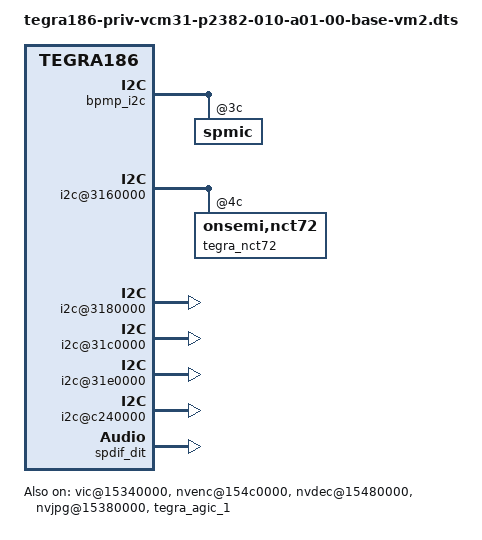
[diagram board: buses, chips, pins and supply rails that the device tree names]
/*
 * tegra186-priv-vcm31-p2382-010-a01-00-base-vm2.dts: P2382(sunstreaker) base vm2 dts
 * file
 *
 * Copyright (c) 2015 - 2016, NVIDIA CORPORATION.  All rights reserved.
 *
 * This program is free software; you can redistribute it and/or modify
 * it under the terms of the GNU General Public License as published by
 * the Free Software Foundation; version 2 of the License.
 *
 * This program is distributed in the hope that it will be useful, but WITHOUT
 * ANY WARRANTY; without even the implied warranty of MERCHANTABILITY or
 * FITNESS FOR A PARTICULAR PURPOSE.  See the GNU General Public License for
 * more details.
 */

#include "tegra186-platforms/tegra186-vcm31-p2382-common.dtsi"
#include "tegra186-platforms/tegra186-vcm31-camera-ccplex.dtsi"

/ {
	nvidia,dtsfilename = __FILE__;
	nvidia,boardids = "p2382:0010:A01";
	nvidia,proc-boardid = "p2382:0010:A01";

	tegra_hv: hyp {
		compatible = "nvidia,tegra-hv";
		status = "okay";
	};

	chosen {
		nvidia,tegra-hypervisor-mode;
	};

	reserved-memory {
		ivm0: carveout0 {
			status = "okay";
			compatible = "nvidia,ivm_carveout";
			reg = <0x0 0x70c00000 0x0 0x04c00000>;
			ivm = <&tegra_hv 0>;
			alloc = <1>;
			no-map;
		};
	};

	tegra-carveouts {
		status = "okay";
		memory-region = <&ivm0>;
	};

	mc_sid@2c00000 {
		nvidia,by-pass-smmu-streamid = <0x7d>;
		status = "okay";
	};

	mailbox@3538000 {
		status = "disabled";
	};

	xhci@3530000 {
		status = "disabled";
	};

	sdhci@3420000 { /* Should be used for eMMC. HS400 mode is not supported */
		status = "disabled";
	};

	sdhci@3400000 {
		/delete-property/ vddio_sdmmc-supply;
		/delete-property/ vddio_sd_slot-supply;
		status = "disabled";
	};

	/delete-node/ pmc-iopower;

	fixed-regulators {
		regulator@4 {
			status = "disabled";
		};
	};

	xudc@3550000 {
		status = "disabled";
	};

	pinctrl@3520000 {
		status = "disabled";
	};

	power-domain {
		host-pd {
			compatible = "nvidia,tegra186-host1x-pd-hv";
		};
	};

	host1x {
		compatible = "nvidia,tegra186-host1x-hv", "simple-bus";
		reg = <0x0 0x13e20000 0x0 0x00010000>;
		interrupts = <0 266 0x04
					0 263 0x04>;
		nvidia,vmid = <2>;

		nvidia,ch-base = <28>;
		nvidia,nb-channels = <26>;

		nvidia,nb-hw-pts = <576>;
		nvidia,pts-base = <284>;
		nvidia,nb-pts = <284>;

		vmserver-owns-engines = <1>;

		ivc-queue0 = <&tegra_hv 47>;

		ctx0 {
			status = "disabled";
		};

		ctx1 {
			status = "disabled";
		};

		ctx2 {
			status = "disabled";
		};

		ctx3 {
			status = "disabled";
		};

		ctx4 {
			status = "okay";
		};

		ctx5 {
			status = "okay";
		};

		ctx6 {
			status = "okay";
		};

		ctx7 {
			status = "okay";
		};

		nvcsi@150c0000 {
			status = "disabled";
		};

		vi@15700000 {
			status = "disabled";
		};

		isp@15600000 {
			status = "disabled";
		};

		nvdisplay@15200000 {
			status = "disabled";
		};

		nvdisplay@15210000 {
			status = "disabled";
		};

		nvdisplay@15220000 {
			status = "disabled";
		};

		dsi {
			status = "disabled";
		};

		vic@15340000 {
			compatible = "nvidia,tegra186-vhost-vic";
			status = "okay";
		};

		nvenc@154c0000 {
			compatible = "nvidia,tegra186-vhost-nvenc";
			status = "okay";
		};

		nvdec@15480000 {
			compatible = "nvidia,tegra186-vhost-nvdec";
			status = "okay";
		};

		nvjpg@15380000 {
			compatible = "nvidia,tegra186-vhost-nvjpg";
			status = "okay";
		};

		tsec@15500000 {
			status = "disabled";
		};

		tsecb@15100000 {
			status = "disabled";
		};

		sor {
			status = "disabled";
		};

		sor1 {
			status = "disabled";
		};

		dpaux@155c0000 {
			status = "disabled";
		};

		dpaux@15040000 {
			status = "disabled";
		};

		se@15810000 {
			status = "disabled";
		};

		se@15820000 {
			status = "disabled";
		};

		se@15830000 {
			status = "disabled";
		};

		se@15840000 {
			status = "disabled";
		};
	};

	gp10b {
		status = "disabled";
	};

	interrupt-controller@3000000 {
		compatible = "arm,cortex-a15-gic-none";
		status = "disabled";
	};

	se_elp@3ad0000 {
		status = "disabled";
	};

	spi@3270000 {
		status = "disabled";
	};

	spi@3210000 {
		status = "disabled";
	};

	spi@c260000 {
		status = "disabled";
	};

	spi@3230000 {
		status = "disabled";
	};

	spi@3240000 {
		status = "disabled";
	};

        ether_qos@2490000 {
		status = "disabled";
        };

        ether_qos_virt_test@2490000 {
		status = "disabled";
        };

	tegra-hsp@3c00000 {
		compatible = "nvidia,tegra186-hsp-none";
		status = "disabled";
	};

	chipid@100000 {
		status = "disabled";
	};

	bpmp {
		compatible = "nvidia,tegra186-bpmp-hv";
		ivc_queue = <&tegra_hv 14 14>;
		mempool = <5>;
		status = "okay";

		bpmpthermal {
			status = "disabled";
		};
	};

	bpmp_i2c {
                spmic: spmic@3c {
			/delete-property/ maxim,device-state-on-disabled-event;
			/delete-node/ backup-battery;
			/delete-node/ fps;
			pinmux@0 {
				/delete-node/ pin_gpio2;
				/delete-node/ pin_gpio3;
			};
			regulators {
				/delete-node/ sd0;
				/delete-node/ sd1;
				/delete-node/ sd2;
				/delete-node/ sd3;
				/delete-node/ sd4;
				/delete-node/ ldo0;
				/delete-node/ ldo1;
				/delete-node/ ldo2;
				/delete-node/ ldo3;
				/delete-node/ ldo4;
				/delete-node/ ldo6;
				/delete-node/ ldo7;
				/delete-node/ ldo8;
			};
		};
	};

	serial@3100000 {
		status = "disabled";
	};

	serial@c280000 {
		status = "disabled";
	};

	serial@3130000 {
		status = "disabled";
	};

	serial@3140000 {
		status = "disabled";
	};

	serial@3150000 {
		status = "disabled";
	};

	serial@c290000 {
		status = "disabled";
	};

	isc-mgr.0 {
		status = "disabled";
	};

	isc-mgr.1 {
		status = "disabled";
	};

	isc-mgr.1 {
		status = "disabled";
	};

	i2c@3160000 {
		compatible = "nvidia,tegra186-i2c-hv";
		ivc_queue = <&tegra_hv 54>;
		status = "okay";
		tegra_nct72: onsemi,nct72@4c {
			/delete-property/ interrupt-parent;
			/delete-property/ interrupts;
			/delete-property/ temp-alert-gpio;
		};
		tmpm32xi2c@61 {
			status = "disabled";
		};
	};

	i2c@3180000 {
		compatible = "nvidia,tegra186-i2c-hv";
		ivc_queue = <&tegra_hv 54>;
		status = "okay";
	};

	i2c@3190000 {
		status = "disabled";
	};

	i2c@31b0000 {
		status = "disabled";
	};

	i2c@31c0000 {
		compatible = "nvidia,tegra186-i2c-hv";
		ivc_queue = <&tegra_hv 54>;
		status = "okay";
	};

	i2c@31e0000 {
		compatible = "nvidia,tegra186-i2c-hv";
		ivc_queue = <&tegra_hv 54>;
		status = "okay";
	};

	i2c@c240000 {
		compatible = "nvidia,tegra186-i2c-hv";
		ivc_queue = <&tegra_hv 54>;
		status = "okay";
	};

	i2c@c250000 {
		compatible = "nvidia,tegra186-i2c-hv";
		ivc_queue = <&tegra_hv 54>;
		status = "disabled";
	};

	ahci-sata@3507000 {
		status = "disabled";
	};

	pcie-controller@10003000 {
		status = "disabled";

		pci@1,0 {
			status = "disabled";
		};

		pci@2,0 {
			status = "disabled";
		};

		pci@3,0 {
			status = "disabled";
		};

	};

	agic-controller@2a41000 {
		status = "disabled";
	};

	adsp@2993000 {
		status = "disabled";
	};

	clocks {
	     clk32k_in@0 {
		status = "disabled";
	     };
	};

	mttcan@c310000 {
		status = "disabled";
	};

	mttcan@c320000 {
		status = "disabled";
	};

	cpuidle {
		compatible = "nvidia,tegra18x-cpuidle";
		status = "disabled";
	};

	tegra_edvd@e070000 {
		status = "disabled";
	};

	aon@c160000 {
		status = "disabled";
	};

	tachometer@39c0000 {
		status = "disabled";
	};

	tegra_hv_net {
		compatible = "nvidia,tegra-hv-net";
		status = "okay";
		ivc = <&tegra_hv 28>;
	};

	tegra_hv_wdt {
		compatible = "nvidia,tegra-hv-wdt";
		status = "okay";
		ivc = <&tegra_hv 52>;
	};

	tegra_wdt:watchdog@30c0000 {
		status = "disabled";
	};

	pmc@c370000 {
		status = "disabled";
	};

	generic-system-config {
		status = "dislabled";
	};

	dma@2600000 {
		dma-channels = <16>;
		nvidia,start-dma-channel-index = <16>;
		nvidia,stream-id = <TEGRA_SID_GPCDMA_1>;
		status = "okay";
	};

	intc: interrupt-controller@3881000 {
		reg = <0x0 0x03881000 0x0 0x00001000
		       0x0 0x03892000 0x0 0x00002000>;
	};

	adma@2930000 {
		compatible = "nvidia,tegra210-adma-hv";
		interrupt-parent = <&tegra_agic_1>;
		dma-start-index = <4>;
		dma-channels = <4>;
		adma-page = <2>;
		power-domains = <>;
		interrupts =  <GIC_SPI INT_ADMA_EOT0 IRQ_TYPE_LEVEL_HIGH
				ROUTE_TO_HOST_INTF0>,
			      <GIC_SPI INT_ADMA_EOT1 IRQ_TYPE_LEVEL_HIGH
				ROUTE_TO_HOST_INTF0>,
			      <GIC_SPI INT_ADMA_EOT2 IRQ_TYPE_LEVEL_HIGH
				ROUTE_TO_HOST_INTF0>,
			      <GIC_SPI INT_ADMA_EOT3 IRQ_TYPE_LEVEL_HIGH
				ROUTE_TO_HOST_INTF0>,
			      <GIC_SPI INT_ADMA_EOT4 IRQ_TYPE_LEVEL_HIGH
				ROUTE_TO_HOST_INTF1>,
			      <GIC_SPI INT_ADMA_EOT5 IRQ_TYPE_LEVEL_HIGH
				ROUTE_TO_HOST_INTF1>,
			      <GIC_SPI INT_ADMA_EOT6 IRQ_TYPE_LEVEL_HIGH
				ROUTE_TO_HOST_INTF1>,
			      <GIC_SPI INT_ADMA_EOT7 IRQ_TYPE_LEVEL_HIGH
				ROUTE_TO_HOST_INTF1>,
			      <GIC_SPI INT_ADMA_EOT8 IRQ_TYPE_LEVEL_HIGH
				ROUTE_TO_HOST_INTF2>,
			      <GIC_SPI INT_ADMA_EOT9 IRQ_TYPE_LEVEL_HIGH
				ROUTE_TO_HOST_INTF2>;
	};

	ahub {
		status = "disabled";

		admaif@290f000 {
			status = "disabled";
		};

		sfc@2902000 {
			status = "disabled";
		};

		sfc@2902200 {
			status = "disabled";
		};

		sfc@2902400 {
			status = "disabled";
		};

		sfc@2902600 {
			status = "disabled";
		};

		spkprot@2908c00 {
			status = "disabled";
		};

		amixer@290bb00 {
			status = "disabled";
		};

		i2s@2901000 {
			status = "disabled";
		};

		i2s@2901100 {
			status = "disabled";
		};

		i2s@2901200 {
			status = "disabled";
		};

		i2s@2901300 {
			status = "disabled";
		};

		i2s@2901400 {
			status = "disabled";
		};

		i2s@2901500 {
			status = "disabled";
		};

		amx@2903000 {
			status = "disabled";
		};

		amx@2903100 {
			status = "disabled";
		};

		amx@2903200 {
			status = "disabled";
		};

		amx@2903300 {
			status = "disabled";
		};

		adx@2903800 {
			status = "disabled";
		};

		adx@2903900 {
			status = "disabled";
		};

		adx@2903a00 {
			status = "disabled";
		};

		adx@2903b00 {
			status = "disabled";
		};

		dmic@2904000 {
			status = "disabled";
		};

		dmic@2904100 {
			status = "disabled";
		};

		dmic@2904200 {
			status = "disabled";
		};

		dmic@2904300 {
			status = "disabled";
		};

		afc@2907000 {
			status = "disabled";
		};

		afc@2907100 {
			status = "disabled";
		};

		afc@2907200 {
			status = "disabled";
		};

		afc@2907300 {
			status = "disabled";
		};

		afc@2907400 {
			status = "disabled";
		};

		afc@2907500 {
			status = "disabled";
		};

		mvc@290a000 {
			status = "disabled";
		};

		mvc@290a200 {
			status = "disabled";
		};

		spdif@2906000 {
			status = "disabled";
		};

		iqc@290e000 {
			status = "disabled";
		};

		asrc@2910000 {
			status = "disabled";
		};

		arad@290e400 {
			status = "disabled";
		};

		ope@2908000 {
			status = "disabled";

			peq@2908100 {
				status = "disabled";
			};

			mbdrc@2908200 {
				status = "disabled";
			};
		};

		dspk@2905000 {
			status = "disabled";
		};

		dspk@2905100 {
			status = "disabled";
		};

		adx@2903a00 {
			status = "disabled";
		};

		adx@2903b00 {
			status = "disabled";
		};
	};

	spdif_dit {
		status = "okay";

		spdif-dit.0@0 {
			status = "okay";
		};

		spdif-dit.1@1 {
			status = "disabled";
		};

		spdif-dit.2@2 {
			status = "disabled";
		};

		spdif-dit.3@3 {
			status = "disabled";
		};

		spdif-dit.4@4 {
			status = "disabled";
		};
	};

	sound {
		status = "disabled";
	};

	sound_ref {
		status = "disabled";
	};

	vgpu {
		compatible = "nvidia,tegra186-gp10b-vgpu", "nvidia,tegra124-gk20a-vgpu";
		reg = <0x0 0x18000000 0x0 0x1000000>;
		nvidia,host1x = <&host1x>;
		ivc-queue3 = <&tegra_hv 49>;
		ivc-queue4 = <&tegra_hv 50>;
		mempool3 = <&tegra_hv 2>;
	};

	adsp_audio {
		status = "disabled";
	};

	thermal-zones {
		BCPU-therm {
			status = "disabled";
		};

		MCPU-therm {
			status = "disabled";
		};

		GPU-therm {
			status = "disabled";
		};

		PLL-therm {
			status = "disabled";
		};

		AO-therm {
			status = "disabled";
		};

		Tboard_tegra {
			status = "disabled";
		};

		Tdiode_tegra {
			status = "disabled";
		};
	};

	mipical {
		status = "disabled";
	};

	ptm_a57_0: ptm@9840000 {
		status = "disabled";
	};

	ptm_a57_1: ptm@9940000 {
		status = "disabled";
	};

	ptm_a57_2: ptm@9a40000 {
		status = "disabled";
	};

	ptm_a57_3: ptm@9b40000 {
		status = "disabled";
	};

	funnel_bccplex@9010000 {
		status = "disabled";
	};

	funnel_major@8010000 {
		status = "disabled";
	};

	replicator@0x8040000 {
		status = "disabled";
	};

	etf@8030000 {
		status = "disabled";
	};

	tpiu@8060000 {
		status = "disabled";
	};

	watchdog@30c0000 {
		status = "disabled";
	};

	watchdog@30c0000 {
		status = "disabled";
	};

	timer@3020000 {
		status = "disabled";
	};

	rtc@c2a0000 {
		status = "disabled";
	};

	iommu@12000000{

		mmu-masters = <&host1x				TEGRA_SID_HC
								TEGRA_SID_HC_VM0
								TEGRA_SID_HC_VM1
								TEGRA_SID_HC_VM2
								TEGRA_SID_HC_VM3
								TEGRA_SID_HC_VM4
								TEGRA_SID_HC_VM5
								TEGRA_SID_HC_VM6
								TEGRA_SID_HC_VM7>,
			      <&{/host1x/nvcsi@150c0000}	TEGRA_SID_NVCSI>,
			      <&{/host1x/vic@15340000}		TEGRA_SID_VIC>,
			      <&{/host1x/vi@15700000}		TEGRA_SID_VI>,
			      <&{/host1x/isp@15600000}		TEGRA_SID_ISP>,
			      <&{/host1x/nvdec@15480000}	TEGRA_SID_NVDEC>,
			      <&{/host1x/nvenc@154c0000}	TEGRA_SID_NVENC>,
			      <&{/host1x/nvjpg@15380000}	TEGRA_SID_NVJPG>,
			      <&{/host1x/nvdisplay@15200000}	TEGRA_SID_NVDISPLAY>,
			      <&{/host1x/nvdisplay@15210000}	TEGRA_SID_NVDISPLAY>,
			      <&{/host1x/nvdisplay@15220000}	TEGRA_SID_NVDISPLAY>,
			      <&{/host1x/tsec@15500000}		TEGRA_SID_TSEC>,
			      <&{/host1x/tsecb@15100000}	TEGRA_SID_TSECB>,
			      <&{/host1x/se@15810000}		TEGRA_SID_SE>,
			      <&{/host1x/se@15820000}		TEGRA_SID_SE1>,
			      <&{/host1x/se@15830000}		TEGRA_SID_SE2>,
			      <&{/host1x/se@15840000}		TEGRA_SID_SE3>,
			      <&{/smmu_test}			TEGRA_SID_SMMU_TEST>,
			      <&{/gp10b}			TEGRA_SID_GPUB>,
			      <&host1x_ctx0			TEGRA_SID_HOST1X_CTX0>,
			      <&host1x_ctx1			TEGRA_SID_HOST1X_CTX1>,
			      <&host1x_ctx2			TEGRA_SID_HOST1X_CTX2>,
			      <&host1x_ctx3			TEGRA_SID_HOST1X_CTX3>,
			      <&host1x_ctx4			TEGRA_SID_HOST1X_CTX4>,
			      <&host1x_ctx5			TEGRA_SID_HOST1X_CTX5>,
			      <&host1x_ctx6			TEGRA_SID_HOST1X_CTX6>,
			      <&host1x_ctx7			TEGRA_SID_HOST1X_CTX7>,

			      /* Non-host devices. */
			      <&{/adsp@2993000}		TEGRA_SID_APE>,
			      <&{/ether_qos@2490000}	TEGRA_SID_EQOS>,
			      <&{/sdhci@3460000}	TEGRA_SID_SDMMC4A>,
			      <&{/sdhci@3440000}	TEGRA_SID_SDMMC3A>,
			      <&{/sdhci@3420000}	TEGRA_SID_SDMMC2A>,
			      <&{/sdhci@3400000}	TEGRA_SID_SDMMC1A>,
			      <&{/ufshci@2450000}	TEGRA_SID_UFSHC>,
			      <&{/xhci@3530000}		TEGRA_SID_XUSB_HOST>,
			      <&{/xudc@3550000}		TEGRA_SID_XUSB_DEV>,
			      <&{/hda@3510000}		TEGRA_SID_HDA>,
			      <&tegra_adsp_audio	TEGRA_SID_APE>,
			      <&{/sound}		TEGRA_SID_APE>,
			      <&{/sound_ref}		TEGRA_SID_APE>,
			      <&{/virt-alt-pcm}		TEGRA_SID_APE_1>,
			      <&{/pcie-controller@10003000} TEGRA_SID_AFI>,
			      <&{/ahci-sata@3507000}	TEGRA_SID_SATA2>,
			      <&{/aon@c160000}		TEGRA_SID_AON>,
			      <&{/rtcpu@b000000}	TEGRA_SID_SCE>,
			      <&{/dma@2600000}		TEGRA_SID_GPCDMA_1>,
			      <&{/spi@3210000}		TEGRA_SID_GPCDMA_1>,
			      <&{/spi@3230000}		TEGRA_SID_GPCDMA_1>,
			      <&{/spi@3240000}		TEGRA_SID_GPCDMA_1>,
			      <&{/spi@3270000}		TEGRA_SID_GPCDMA_1>,
			      <&{/spi@c260000}		TEGRA_SID_GPCDMA_1>,
			      <&{/serial@3100000}	TEGRA_SID_GPCDMA_1>,
			      <&{/serial@3110000}	TEGRA_SID_GPCDMA_1>,
			      <&{/serial@c280000}	TEGRA_SID_GPCDMA_1>,
			      <&{/serial@3130000}	TEGRA_SID_GPCDMA_1>,
			      <&{/serial@3140000}	TEGRA_SID_GPCDMA_1>,
			      <&{/serial@3150000}	TEGRA_SID_GPCDMA_1>,
			      <&{/serial@c290000}	TEGRA_SID_GPCDMA_1>,
			      <&{/i2c@3160000}		TEGRA_SID_GPCDMA_1>,
			      <&{/i2c@c240000}		TEGRA_SID_GPCDMA_1>,
			      <&{/i2c@3180000}		TEGRA_SID_GPCDMA_1>,
			      <&{/i2c@3190000}		TEGRA_SID_GPCDMA_1>,
			      <&{/i2c@31b0000}		TEGRA_SID_GPCDMA_1>,
			      <&{/i2c@31c0000}		TEGRA_SID_GPCDMA_1>,
			      <&{/i2c@c250000}		TEGRA_SID_GPCDMA_1>,
			      <&{/i2c@31e0000}		TEGRA_SID_GPCDMA_1>,
			      <&{/vse@15810000}		TEGRA_SID_SE_VM1>,
			      <&{/vse@15820000}		TEGRA_SID_SE_VM1>,
			      <&{/vse@15830000}		TEGRA_SID_SE_VM1>,
			      <&{/vse@15840000}		TEGRA_SID_SE_VM1>;

		domains {
			ape_domain {
				address-space = <&ape_as>;
				sid-list = <TEGRA_SID(APE_1)>;
				sid-list-len = <1>;
			};

			gpcdma_domain {
				address-space = <&common_as>;
				sid-list = <TEGRA_SID_GPCDMA_1>;
				sid-list-len = <1>;
			};

			vse_domain {
				address-space = <&common_as>;
				sid-list = <TEGRA_SID_SE_VM1>;
				sid-list-len = <1>;
			};
		};

		address-space-prop {
			ape_as: ape {
				iova-start = <0x0 0x80000000>;
				iova-size = <0x0 0x20000000>;
				alignment = <0xFFFFF>;
				num-pf-page = <0>;
				gap-page = <1>;
			};
		};
	};

	tegra_agic_1: agic-controller@2a51000 {
		compatible = "nvidia,tegra18x-agic";
		interrupt-controller;
		#interrupt-cells = <4>;
		no-gic-extension;
		not-per-cpu;
		reg = <0x0 0x02a51000 0x0 0x1000>,
			<0x0 0x02a52000 0x0 0x2000>;
		interrupts = <0 146 0xf04>;
		status = "okay";
        };

	virt-alt-pcm {
		status = "okay";
		compatible = "nvidia,tegra210-virt-pcm";
		power-domains = <&ape_pd>;
		wakeup-disable;
		#stream-id-cells = <1>;
		cardname = "tegra-virt-pcm-vm2";
		codec = <&spdif_dit0>;
		dmas = <&adma 1>, <&adma 1>, <&adma 2>, <&adma 2>,
			<&adma 3>, <&adma 3>, <&adma 4>, <&adma 4>;
		dma-names = "rx1", "tx1", "rx2", "tx2",
			"rx3", "tx3", "rx4", "tx4";
		ivc_queue = <&tegra_hv 57>;
		admaif_ch_num = <4>;
		admaif_ch_list = <5>, <6>, <7>, <8>;
        };

	trusty {
		virtio {
			status = "disabled";
		};
        };

	cpufreq@e070000 {
		nvidia,debugfs-only;
	};

        /delete-node/ axi2apb@2390000;
        /delete-node/ axi2apb@23a0000;
        /delete-node/ axi2apb@23b0000;
        /delete-node/ axi2apb@23c0000;
        /delete-node/ axi2apb@23d0000;
        /delete-node/ axip2p@2100000;
        /delete-node/ axip2p@2110000;
        /delete-node/ axip2p@2120000;
        /delete-node/ axip2p@2130000;
        /delete-node/ axip2p@2140000;
        /delete-node/ axip2p@2150000;
        /delete-node/ axip2p@2160000;
        /delete-node/ axip2p@2170000;
        /delete-node/ axip2p@2180000;
        /delete-node/ axip2p@2190000;

	sdhci@3460000 {
		status = "disabled";
	};

	/* the virtual storage device node */
	tegra_hv_storage {
		compatible = "nvidia,tegra-hv-storage";
		status = "okay";
		instance = <0>;
		ivc = <&tegra_hv 69>;
	};

	tegra_hv_storage1 {
		compatible = "nvidia,tegra-hv-storage";
		status = "okay";
		instance = <1>;
		ivc = <&tegra_hv 70>;
	};

	gpio-keys {
		status = "disabled";
	};

	vse@15810000 {
		compatible = "nvidia,tegra186-hv-vse";
		#stream-id-cells = <1>;
		ivc = <77>;
		se-engine-id = <0>;
	};

	vse@15820000 {
		compatible = "nvidia,tegra186-hv-vse";
		#stream-id-cells = <1>;
		ivc = <77>;
		se-engine-id = <1>;
	};

	vse@15830000 {
		compatible = "nvidia,tegra186-hv-vse";
		#stream-id-cells = <1>;
		ivc = <77>;
		se-engine-id = <2>;
	};

	vse@15840000 {
		compatible = "nvidia,tegra186-hv-vse";
		#stream-id-cells = <1>;
		ivc = <77>;
		se-engine-id = <3>;
	};
};
